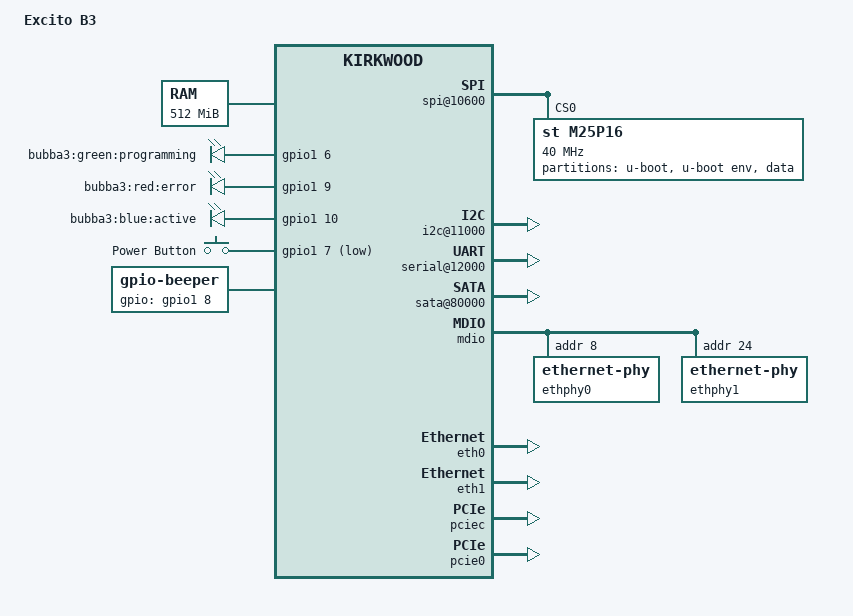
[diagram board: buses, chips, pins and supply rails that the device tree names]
// SPDX-License-Identifier: GPL-2.0+
/*
 * Device Tree file for Excito Bubba B3
 *
 * Copyright (C) 2013, Andrew Lunn <andrew@lunn.ch>
 *
 *
 * Note: This requires a new'ish version of u-boot, which disables the
 * L2 cache. If your B3 silently fails to boot, u-boot is probably too
 * old. Either upgrade, or consider the following email:
 *
 * https://lists.debian.org/debian-arm/2012/08/msg00128.html
 */

/dts-v1/;

#include "kirkwood.dtsi"
#include "kirkwood-6281.dtsi"

/ {
	model = "Excito B3";
	compatible = "excito,b3", "marvell,kirkwood-88f6281", "marvell,kirkwood";
	memory { /* 512 MB */
		device_type = "memory";
		reg = <0x00000000 0x20000000>;
	};

	chosen {
		bootargs = "console=ttyS0,115200n8 earlyprintk";
		stdout-path = &uart0;
	};

	ocp@f1000000 {
		pinctrl: pin-controller@10000 {
			pmx_button_power: pmx-button-power {
				marvell,pins = "mpp39";
				marvell,function = "gpio";
			};
			pmx_led_green: pmx-led-green {
				marvell,pins = "mpp38";
				marvell,function = "gpio";
			};
			pmx_led_red: pmx-led-red {
				marvell,pins = "mpp41";
				marvell,function = "gpio";
			};
			pmx_led_blue: pmx-led-blue {
				marvell,pins = "mpp42";
				marvell,function = "gpio";
			};
			pmx_beeper: pmx-beeper {
				marvell,pins = "mpp40";
				marvell,function = "gpio";
			};
		};

		spi@10600 {
			status = "okay";

			m25p16@0 {
				#address-cells = <1>;
				#size-cells = <1>;
				compatible = "st,m25p16", "jedec,spi-nor";
				reg = <0>;
				spi-max-frequency = <40000000>;
				mode = <0>;

				partition@0 {
					reg = <0x0 0xc0000>;
					label = "u-boot";
				};

				partition@c0000 {
					reg = <0xc0000 0x20000>;
					label = "u-boot env";
				};

				partition@e0000 {
					reg = <0xe0000 0x120000>;
					label = "data";
				};
			};
		};

		i2c@11000 {
			status = "okay";
			/*
			 * There is something on the bus at address 0x64.
			 * Not yet identified what it is, maybe the eeprom
			 * for the Atheros WiFi chip?
			 */
		};


		serial@12000 {
			/* Internal on test pins, 3.3v TTL
		 	 * UART0_RX = Testpoint 65
			 * UART0_TX = Testpoint 66
			 * See the Excito Wiki for more details.
		 	 */
			status = "okay";
		};

		sata@80000 {
			/* One internal, the second as eSATA */
			status = "okay";
			nr-ports = <2>;
		};
	};

	gpio-leds {
		/*
		 * There is one LED "port" on the front and the colours
		 * mix together giving some interesting combinations.
		 */
		compatible = "gpio-leds";
		pinctrl-0 = < &pmx_led_green &pmx_led_red
			      &pmx_led_blue >;
		pinctrl-names = "default";

		programming_led {
			label = "bubba3:green:programming";
			gpios = <&gpio1 6 GPIO_ACTIVE_HIGH>;
			default-state = "off";
		};

		error_led {
			label = "bubba3:red:error";
			gpios = <&gpio1 9 GPIO_ACTIVE_HIGH>;
		};

		active_led {
			label = "bubba3:blue:active";
			gpios = <&gpio1 10 GPIO_ACTIVE_HIGH>;
		};
	};

	gpio-keys {
		compatible = "gpio-keys";
		pinctrl-0 = <&pmx_button_power>;
		pinctrl-names = "default";

		power-button {
			/* On the back */
			label = "Power Button";
			linux,code = <KEY_POWER>;
			gpios = <&gpio1 7 GPIO_ACTIVE_LOW>;
		};
	};

	beeper: beeper {
		/* 4KHz Piezoelectric buzzer */
		compatible = "gpio-beeper";
		pinctrl-0 = <&pmx_beeper>;
		pinctrl-names = "default";
		gpios = <&gpio1 8 GPIO_ACTIVE_HIGH>;
	};
};

&mdio {
	status = "okay";

	ethphy0: ethernet-phy@8 {
		device_type = "ethernet-phy";
		reg = <8>;
	};

	ethphy1: ethernet-phy@24 {
		device_type = "ethernet-phy";
		reg = <24>;
	};
};

&eth0 {
	status = "okay";
	ethernet0-port@0 {
		phy-handle = <&ethphy0>;
	};
};

&eth1 {
	status = "okay";
	ethernet1-port@0 {
		phy-handle = <&ethphy1>;
	};
};

/* Wifi model has Atheros chipset on pcie port */
&pciec {
        status = "okay";
};

&pcie0 {
	status = "okay";
};
